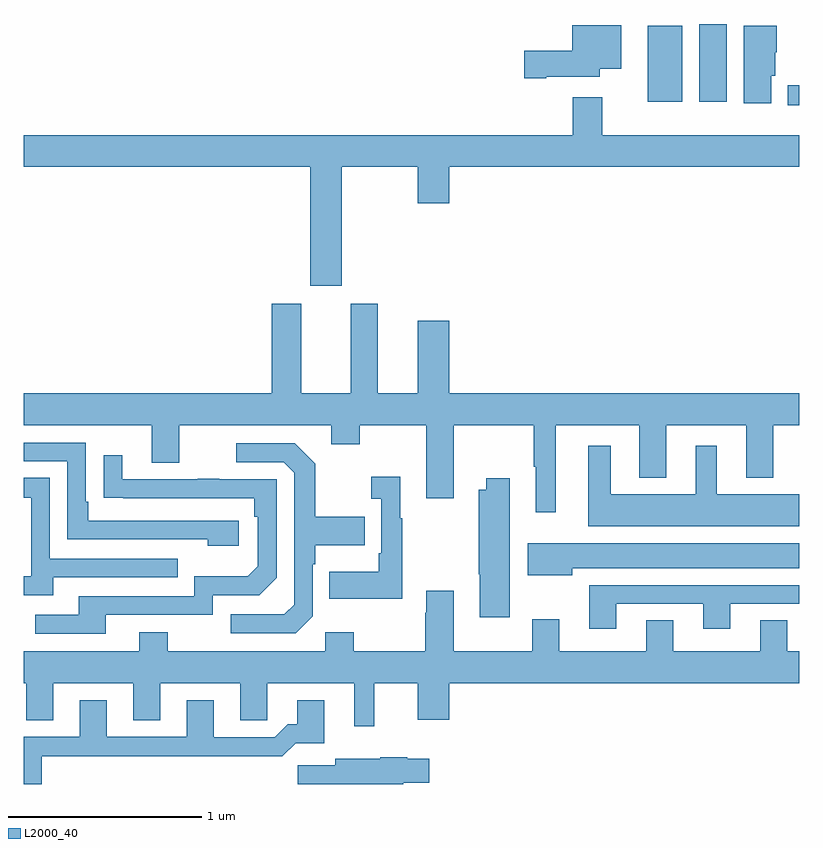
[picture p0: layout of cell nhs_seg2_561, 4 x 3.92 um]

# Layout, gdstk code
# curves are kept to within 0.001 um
import gdstk
lib = gdstk.Library(unit=1e-6, precision=1e-09)
def R(c, l, rs):  # rectangles x0, y0, x1, y1
    for r in rs: c.add(gdstk.rectangle(r[:2], r[2:], *l))
def P(c, l, *ps):  # polygons
    for p in ps: c.add(gdstk.Polygon(p, *l))
L2000_40 = (2000, 40)

nhs_seg2_561 = lib.new_cell('nhs_seg2_561')
R(nhs_seg2_561, L2000_40, [(142.941,633.302,143,633.404), (142.22,633.32,142.396,633.712), (142.484,633.32,142.627,633.721)])
P(nhs_seg2_561, L2000_40, [(141.694,633.449),(141.97,633.449),(141.97,633.491),(142.081,633.491),(142.081,633.715),(141.83,633.715),(141.83,633.584),(141.582,633.584),(141.582,633.442),(141.694,633.442)],
  [(142.855,633.453),(142.876,633.453),(142.876,633.576),(142.885,633.576),(142.885,633.712),(142.715,633.712),(142.715,633.312),(142.855,633.312)],
  [(140.641,632.984),(141.032,632.984),(141.032,632.796),(141.196,632.796),(141.196,632.984),(143,632.984),(143,633.148),(141.985,633.148),(141.985,633.343),(141.833,633.343),(141.833,633.148),(139,633.148),(139,632.984),(140.477,632.984),(140.477,632.37),(140.641,632.37)],
  [(141.745,631.652),(142.175,631.652),(142.175,631.379),(142.315,631.379),(142.315,631.652),(142.727,631.652),(142.727,631.379),(142.867,631.379),(142.867,631.652),(143,631.652),(143,631.816),(141.196,631.816),(141.196,632.191),(141.032,632.191),(141.032,631.816),(140.827,631.816),(140.827,632.278),(140.687,632.278),(140.687,631.816),(140.431,631.816),(140.431,632.278),(140.279,632.278),(140.279,631.816),(139,631.816),(139,631.652),(139.661,631.652),(139.661,631.458),(139.801,631.458),(139.801,631.652),(140.585,631.652),(140.585,631.553),(140.733,631.553),(140.733,631.652),(141.077,631.652),(141.077,631.275),(141.217,631.275),(141.217,631.652),(141.631,631.652),(141.631,631.436),(141.641,631.436),(141.641,631.203),(141.745,631.203)],
  [(140.11,631.158),(139.333,631.158),(139.333,631.255),(139.32,631.255),(139.32,631.56),(139,631.56),(139,631.464),(139.224,631.464),(139.224,631.062),(139.949,631.062),(139.949,631.028),(140.11,631.028)],
  [(140.49,630.666),(140.49,630.935),(140.503,630.935),(140.503,631.031),(140.759,631.031),(140.759,631.179),(140.503,631.179),(140.503,631.451),(140.397,631.557),(140.097,631.557),(140.097,631.461),(140.34,631.461),(140.394,631.407),(140.394,630.726),(140.343,630.675),(140.067,630.675),(140.067,630.579),(140.403,630.579)],
  [(143,631.294),(142.576,631.294),(142.576,631.546),(142.466,631.546),(142.466,631.294),(142.027,631.294),(142.027,631.546),(141.911,631.546),(141.911,631.13),(143,631.13)],
  [(139.423,630.672),(139.974,630.672),(139.974,630.774),(140.214,630.774),(140.304,630.864),(140.304,631.371),(140.009,631.371),(140.009,631.376),(139.897,631.376),(139.897,631.371),(139.507,631.371),(139.507,631.495),(139.411,631.495),(139.411,631.276),(140.188,631.275),(140.188,631.178),(140.208,631.178),(140.208,630.924),(140.155,630.871),(139.878,630.871),(139.878,630.768),(139.283,630.768),(139.283,630.672),(139.059,630.672),(139.059,630.576),(139.423,630.576)],
  [(140.953,631.171),(140.941,631.171),(140.941,631.384),(140.793,631.384),(140.793,631.271),(140.844,631.271),(140.844,630.991),(140.832,630.991),(140.832,630.895),(140.575,630.895),(140.575,630.755),(140.953,630.755)],
  [(139.153,630.867),(139.793,630.867),(139.793,630.963),(139.134,630.963),(139.134,631.379),(139,631.379),(139,631.278),(139.038,631.278),(139.038,630.873),(139,630.873),(139,630.773),(139.153,630.773)],
  [(141.508,631.378),(141.386,631.378),(141.386,631.318),(141.346,631.318),(141.346,630.883),(141.353,630.883),(141.353,630.66),(141.508,630.66)],
  [(141.829,630.914),(143,630.914),(143,631.042),(141.6,631.042),(141.6,630.878),(141.829,630.878)],
  [(142.057,630.729),(142.505,630.729),(142.505,630.6),(142.645,630.6),(142.645,630.729),(143,630.729),(143,630.825),(141.917,630.825),(141.917,630.6),(142.057,630.6)],
  [(143,630.484),(142.939,630.484),(142.939,630.644),(142.799,630.644),(142.799,630.484),(142.351,630.484),(142.351,630.644),(142.211,630.644),(142.211,630.484),(141.763,630.484),(141.763,630.649),(141.623,630.649),(141.623,630.484),(141.217,630.484),(141.217,630.796),(141.077,630.796),(141.077,630.683),(141.07,630.683),(141.07,630.484),(140.703,630.484),(140.703,630.583),(140.556,630.583),(140.556,630.484),(139.743,630.484),(139.743,630.583),(139.595,630.583),(139.595,630.484),(139,630.484),(139,630.32),(139.013,630.32),(139.013,630.13),(139.153,630.13),(139.153,630.32),(139.565,630.32),(139.565,630.13),(139.705,630.13),(139.705,630.32),(140.117,630.32),(140.117,630.13),(140.256,630.13),(140.256,630.32),(140.705,630.32),(140.705,630.099),(140.809,630.099),(140.809,630.32),(141.032,630.32),(141.032,630.132),(141.196,630.132),(141.196,630.32),(143,630.32)],
  [(139.093,629.944),(140.077,629.944),(140.077,629.942),(140.333,629.942),(140.402,630.011),(140.551,630.011),(140.551,630.232),(140.411,630.232),(140.411,630.109),(140.362,630.109),(140.295,630.042),(139.981,630.042),(139.981,630.232),(139.841,630.232),(139.841,630.045),(139.429,630.045),(139.429,630.232),(139.289,630.232),(139.289,630.045),(139,630.045),(139,629.8),(139.093,629.8)],
  [(140.958,629.807),(141.091,629.807),(141.091,629.929),(140.978,629.929),(140.978,629.937),(140.838,629.937),(140.838,629.929),(140.606,629.929),(140.606,629.897),(140.412,629.897),(140.412,629.8),(140.958,629.8)])

lib.write_gds('nhs_seg2_561.gds')
